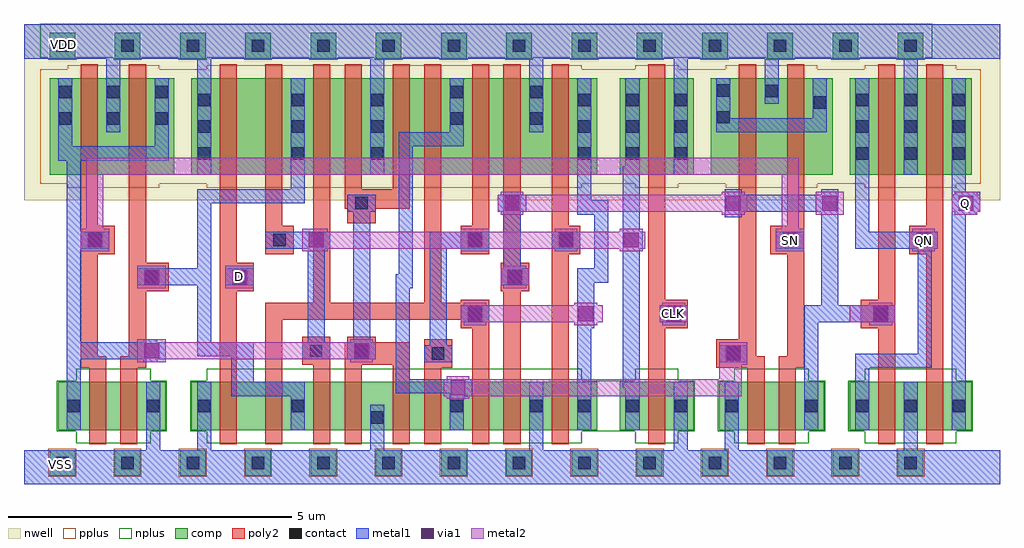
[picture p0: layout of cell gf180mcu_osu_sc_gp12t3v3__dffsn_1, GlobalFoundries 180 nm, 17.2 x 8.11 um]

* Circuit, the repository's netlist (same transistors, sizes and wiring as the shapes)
* Copyright 2022 Google LLC
*
* Licensed under the Apache License, Version 2.0 (the "License");
* you may not use this file except in compliance with the License.
* You may obtain a copy of the License at
*
*      http://www.apache.org/licenses/LICENSE-2.0
*
* Unless required by applicable law or agreed to in writing, software
* distributed under the License is distributed on an "AS IS" BASIS,
* WITHOUT WARRANTIES OR CONDITIONS OF ANY KIND, either express or implied.
* See the License for the specific language governing permissions and
* limitations under the License.

.inc "/import/yukari1/lrburle/OSU_180/char/techfiles/design.hspice"
.lib "/import/yukari1/lrburle/OSU_180/char/techfiles/sm141064.hspice" typical

.GLOBAL VDD
.GLOBAL VSS

.option scale=0.05u

.subckt gf180mcu_osu_sc_gp12t3v3__dffsn_1 D SN Q QN CLK
X0 a_75_109 D VDD VDD pmos_3p3 w=34 l=6
X1 VDD a_147_19 a_242_109 VDD pmos_3p3 w=34 l=6
X2 a_242_109 SN VDD VDD pmos_3p3 w=34 l=6
X3 VSS SN a_108_19 VSS nmos_3p3 w=17 l=6
X4 VSS CLK a_85_81 VSS nmos_3p3 w=17 l=6
X5 a_85_14 a_85_81 VSS VSS nmos_3p3 w=17 l=6
X6 a_75_19 D VSS VSS nmos_3p3 w=17 l=6
X7 a_85_14 a_85_81 VDD VDD pmos_3p3 w=34 l=6
X8 VDD a_168_68 a_164_109 VDD pmos_3p3 w=34 l=6
X9 Q QN VSS VSS nmos_3p3 w=17 l=6
X10 VDD SN SN VDD pmos_3p3 w=34 l=6
X11 SN a_34_14 VDD VDD pmos_3p3 w=34 l=6
X12 a_147_19 a_85_14 a_136_109 VDD pmos_3p3 w=34 l=6
X13 a_164_109 a_85_81 a_147_19 VDD pmos_3p3 w=34 l=6
X14 VDD CLK a_85_81 VDD pmos_3p3 w=34 l=6
X15 a_261_19 a_147_19 VSS VSS nmos_3p3 w=17 l=6
X16 VSS a_168_68 QN VSS nmos_3p3 w=17 l=6
X17 a_136_109 SN VDD VDD pmos_3p3 w=34 l=6
X18 a_136_19 SN VSS VSS nmos_3p3 w=17 l=6
X19 VDD SN a_108_109 VDD pmos_3p3 w=34 l=6
X20 a_108_109 a_85_14 a_34_14 VDD pmos_3p3 w=34 l=6
X21 a_164_19 a_85_14 a_147_19 VSS nmos_3p3 w=17 l=6
X22 a_168_68 SN a_261_19 VSS nmos_3p3 w=17 l=6
X23 a_147_19 a_85_81 a_136_19 VSS nmos_3p3 w=17 l=6
X24 VSS a_168_68 a_164_19 VSS nmos_3p3 w=17 l=6
X25 a_34_14 a_85_81 a_75_109 VDD pmos_3p3 w=34 l=6
X26 a_29_19 SN SN VSS nmos_3p3 w=17 l=6
X27 a_34_14 a_85_14 a_75_19 VSS nmos_3p3 w=17 l=6
X28 Q QN VDD VDD pmos_3p3 w=34 l=6
X29 VDD a_168_68 QN VDD pmos_3p3 w=34 l=6
X30 VSS a_34_14 a_29_19 VSS nmos_3p3 w=17 l=6
X31 a_108_19 a_85_81 a_34_14 VSS nmos_3p3 w=17 l=6
.ends

** hspice subcircuit dictionary

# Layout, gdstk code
import gdstk
lib = gdstk.Library(unit=1e-6, precision=1e-09)
def R(c, l, rs):  # rectangles x0, y0, x1, y1
    for r in rs: c.add(gdstk.rectangle(r[:2], r[2:], *l))
def A(c, l, x, y, w, h, nx, ny, dx, dy):  # array of equal rectangles
    R(c, l, [(x+i*dx, y+j*dy, x+i*dx+w, y+j*dy+h) for i in range(nx) for j in range(ny)])
nwell = (21, 0)
comp = (22, 0)
poly2 = (30, 0)
pplus = (31, 0)
nplus = (32, 0)
contact = (33, 0)
metal1 = (34, 0)
via1 = (35, 0)
metal2 = (36, 0)

gf180mcu_osu_sc_gp12t3v3 = lib.new_cell('gf180mcu_osu_sc_gp12t3v3__dffsn_1')
R(gf180mcu_osu_sc_gp12t3v3, nwell, [(0,5,17.2,8.1)])
A(gf180mcu_osu_sc_gp12t3v3, comp, 0.45, 0.15, 0.45, 0.45, 14, 2, 1.15, 7.35)
R(gf180mcu_osu_sc_gp12t3v3, comp, [(0.6,0.95,2.5,1.8), (2.95,0.95,10.1,1.8), (10.5,0.95,11.8,1.8), (12.25,0.95,14.1,1.8), (14.55,0.95,16.7,1.8), (0.45,5.45,2.65,7.15), (2.95,5.45,10.1,7.15), (10.5,5.45,11.8,7.15), (12.1,5.45,14.25,7.15), (14.55,5.45,16.7,7.15)])
R(gf180mcu_osu_sc_gp12t3v3, poly2, [(1.15,0.7,1.45,2.05), (1.7,0.7,2,2.05), (3.45,0.7,3.75,3.4), (4.25,0.7,4.55,2.9), (5.1,0.7,5.4,2.1), (5.65,0.7,5.95,2.1), (6.5,0.7,6.8,2.1), (7.05,0.7,7.35,2.05), (7.9,0.7,8.2,2.75), (8.45,0.7,8.75,3.4), (9.3,0.7,9.6,4.05), (11,0.7,11.3,2.75), (12.75,0.7,13.05,2.05), (13.3,0.7,13.6,2.05), (15.05,0.7,15.35,2.75), (15.9,0.7,16.2,4.05), (1,2.05,1.45,2.25), (1.7,2.05,2.15,2.25), (7.05,2.05,7.55,2.55), (12.2,2.05,13.05,2.25), (13.3,2.05,13.75,2.25), (4.9,2.1,5.4,2.6), (5.65,2.1,6.8,2.5), (1,2.25,1.3,4.05), (1.85,2.25,2.15,3.4), (12.2,2.25,12.9,2.55), (13.45,2.25,13.75,4.05), (5.7,2.5,6.2,2.6), (12.6,2.55,12.9,7.4), (7.7,2.75,8.2,2.9), (11,2.75,11.7,3.25), (14.75,2.75,15.35,3.25), (4.25,2.9,8.2,3.2), (5.1,3.2,5.4,7.4), (7.05,3.2,7.35,7.4), (7.7,3.2,8.2,3.25), (11,3.25,11.3,7.4), (15.05,3.25,15.35,7.4), (1.85,3.4,2.55,3.9), (3.45,3.4,4.05,3.9), (8.4,3.4,8.9,3.9), (1.85,3.9,2.15,7.4), (3.45,3.9,3.75,7.4), (8.45,3.9,8.75,7.4), (1,4.05,1.6,4.55), (4.25,4.05,4.75,4.55), (7.7,4.05,8.2,4.55), (9.3,4.05,9.8,4.55), (13.15,4.05,13.75,4.55), (15.6,4.05,16.2,4.55), (1,4.55,1.3,7.4), (4.25,4.55,4.55,7.4), (7.9,4.55,8.2,7.4), (9.3,4.55,9.6,7.4), (13.45,4.55,13.75,7.4), (15.9,4.55,16.2,7.4), (5.7,4.6,6.2,4.85), (5.65,4.85,6.8,5.2), (5.65,5.2,5.95,7.4), (6.5,5.2,6.8,7.4)])
A(gf180mcu_osu_sc_gp12t3v3, pplus, 0.43, 0.13, 0.49, 0.49, 14, 1, 1.15, 0)
R(gf180mcu_osu_sc_gp12t3v3, pplus, [(0.77,5.22,2.38,5.29), (3.22,5.22,9.83,5.29), (10.77,5.22,11.53,5.29), (12.37,5.22,13.98,5.29), (14.82,5.22,16.43,5.29), (0.29,5.29,16.86,7.31), (0.77,7.31,2.38,7.38), (3.22,7.31,9.83,7.38), (10.77,7.31,11.53,7.38), (12.37,7.31,13.98,7.38), (14.82,7.31,16.43,7.38)])
A(gf180mcu_osu_sc_gp12t3v3, nplus, 0.43, 7.48, 0.49, 0.03, 14, 1, 1.15, 0)
R(gf180mcu_osu_sc_gp12t3v3, nplus, [(0.92,0.72,2.23,0.93), (3.22,0.72,9.83,0.93), (10.77,0.72,11.53,0.93), (12.52,0.72,13.83,0.93), (14.82,0.72,16.43,0.93), (0.58,0.93,2.52,1.82), (2.93,0.93,11.82,1.82), (12.23,0.93,14.12,1.82), (14.53,0.93,16.72,1.82), (0.92,1.82,2.23,2.03), (3.22,1.82,9.83,2.03), (10.77,1.82,11.53,2.03), (12.52,1.82,13.83,2.03), (14.82,1.82,16.43,2.03), (0.29,7.51,16.01,8.11)])
A(gf180mcu_osu_sc_gp12t3v3, contact, 0.565, 0.265, 0.22, 0.22, 14, 2, 1.15, 7.35)
A(gf180mcu_osu_sc_gp12t3v3, contact, 8.915, 1.265, 0.22, 0.22, 4, 1, 0.85, 0)
A(gf180mcu_osu_sc_gp12t3v3, contact, 14.665, 1.265, 0.22, 0.22, 3, 2, 0.85, 4.455)
A(gf180mcu_osu_sc_gp12t3v3, contact, 3.065, 5.72, 0.22, 0.22, 1, 3, 0, 0.47)
A(gf180mcu_osu_sc_gp12t3v3, contact, 4.715, 5.72, 0.22, 0.22, 1, 3, 0, 0.47)
A(gf180mcu_osu_sc_gp12t3v3, contact, 6.115, 5.72, 0.22, 0.22, 1, 3, 0, 0.47)
A(gf180mcu_osu_sc_gp12t3v3, contact, 9.765, 5.72, 0.22, 0.22, 3, 3, 0.85, 0.47)
A(gf180mcu_osu_sc_gp12t3v3, contact, 14.665, 6.19, 0.22, 0.22, 3, 2, 0.85, 0.47)
A(gf180mcu_osu_sc_gp12t3v3, contact, 0.615, 6.33, 0.22, 0.22, 3, 2, 0.85, 0.47)
R(gf180mcu_osu_sc_gp12t3v3, contact, [(6.115,1.065,6.335,1.285), (0.765,1.265,0.985,1.485), (2.165,1.265,2.385,1.485), (3.065,1.265,3.285,1.485), (4.715,1.265,4.935,1.485), (7.515,1.265,7.735,1.485), (12.365,1.265,12.585,1.485), (13.765,1.265,13.985,1.485), (7.19,2.19,7.41,2.41), (12.39,2.19,12.61,2.41), (5.04,2.24,5.26,2.46), (5.84,2.24,6.06,2.46), (7.84,2.89,8.06,3.11), (11.34,2.89,11.56,3.11), (14.99,2.89,15.21,3.11), (2.14,3.54,2.36,3.76), (3.69,3.54,3.91,3.76), (8.54,3.54,8.76,3.76), (1.14,4.19,1.36,4.41), (4.39,4.19,4.61,4.41), (7.84,4.19,8.06,4.41), (9.44,4.19,9.66,4.41), (13.39,4.19,13.61,4.41), (15.74,4.19,15.96,4.41), (5.84,4.84,6.06,5.06), (7.515,6.33,7.735,6.55), (8.915,6.33,9.135,6.55), (12.215,6.355,12.435,6.575), (13.915,6.615,14.135,6.835), (7.515,6.8,7.735,7.02), (8.915,6.8,9.135,7.02), (13.065,6.815,13.285,7.035), (12.215,6.825,12.435,7.045)])
R(gf180mcu_osu_sc_gp12t3v3, metal1, [(0,0,17.2,0.6), (2.15,0.6,2.4,1.8), (3.05,0.6,3.3,1.8), (6.1,0.6,6.35,1.4), (8.9,0.6,9.15,1.8), (11.45,0.6,11.7,1.8), (12.35,0.6,12.6,1.8), (15.5,0.6,15.75,1.8), (0.75,0.95,1,2.2), (4.7,0.95,4.95,1.55), (7.5,0.95,7.75,1.55), (9.75,0.95,10,2.75), (10.6,0.95,10.85,1.7), (13.75,0.95,14,2.85), (14.65,0.95,14.9,2.05), (16.35,0.95,16.6,4.75), (3.65,1.55,4.95,1.8), (7.5,1.55,7.9,1.6), (6.55,1.6,7.9,1.85), (10.55,1.7,10.85,4.15), (3.65,1.8,4.05,2.25), (6.55,1.85,6.8,3.45), (14.65,2.05,16,2.3), (2.1,2.15,2.35,2.2), (7.05,2.15,7.55,2.45), (12.25,2.15,12.75,2.45), (0.75,2.2,2.5,2.5), (4.9,2.2,5.4,2.5), (5.7,2.2,6.2,2.5), (3.05,2.25,4.05,2.5), (15.75,2.3,16,4.15), (7.15,2.45,7.45,4.15), (0.75,2.5,1,4.15), (2.1,2.5,2.35,2.55), (3.05,2.5,3.3,3.5), (5,2.5,5.3,4.15), (5.8,2.5,6.1,4.8), (9.75,2.75,10.05,3.55), (7.7,2.85,8.2,3.15), (11.2,2.85,11.7,3.15), (13.75,2.85,15.35,3.15), (14.05,3.15,14.35,4.8), (6.55,3.45,6.85,3.7), (2,3.5,3.3,3.8), (3.55,3.5,4.05,3.8), (8.4,3.5,8.9,3.8), (9.75,3.55,10.3,3.8), (6.6,3.7,6.85,5.95), (3.05,3.8,3.3,4.95), (8.45,3.8,8.75,4.8), (10.05,3.8,10.3,4.75), (0.75,4.15,1.5,4.45), (4.25,4.15,5.4,4.45), (7.15,4.15,8.2,4.45), (9.3,4.15,9.8,4.45), (10.55,4.15,10.9,4.45), (13.25,4.15,13.75,4.45), (14.65,4.15,16.1,4.45), (0.75,4.45,1,5.7), (10.55,4.45,10.85,5.6), (14.65,4.45,14.9,7.15), (12.35,4.7,12.65,4.8), (9.75,4.75,10.3,5), (16.35,4.75,16.8,4.8), (5.7,4.8,6.2,5.1), (8.35,4.8,8.85,5.1), (12.35,4.8,14.35,5.1), (16.35,4.8,16.85,5.15), (3.05,4.95,4.95,5.2), (9.75,5,10,7.15), (12.35,5.1,12.65,5.2), (14.05,5.1,14.35,5.2), (16.35,5.15,16.6,7.15), (4.7,5.2,4.95,7.15), (3.05,5.45,3.3,7.5), (6.1,5.45,6.35,7.5), (11.45,5.45,11.7,7.5), (15.5,5.45,15.75,7.5), (10.6,5.6,10.85,7.15), (0.6,5.7,2.55,5.95), (0.6,5.95,0.85,7.15), (2.3,5.95,2.55,7.15), (6.6,5.95,7.75,6.2), (1.45,6.2,1.7,7.5), (7.5,6.2,7.75,7.15), (8.9,6.2,9.15,7.5), (12.2,6.2,14.15,6.45), (12.2,6.45,12.45,7.15), (13.9,6.45,14.15,7.15), (13.05,6.7,13.3,7.5), (0,7.5,17.2,8.1)])
R(gf180mcu_osu_sc_gp12t3v3, via1, [(7.52,1.57,7.78,1.83), (12.37,2.17,12.63,2.43), (2.12,2.22,2.38,2.48), (5.82,2.22,6.08,2.48), (7.82,2.87,8.08,3.13), (9.77,2.87,10.03,3.13), (11.32,2.87,11.58,3.13), (14.97,2.87,15.23,3.13), (2.12,3.52,2.38,3.78), (3.67,3.52,3.93,3.78), (8.52,3.52,8.78,3.78), (1.12,4.17,1.38,4.43), (5.02,4.17,5.28,4.43), (7.82,4.17,8.08,4.43), (9.42,4.17,9.68,4.43), (10.57,4.17,10.83,4.43), (13.37,4.17,13.63,4.43), (15.72,4.17,15.98,4.43), (8.47,4.82,8.73,5.08), (12.37,4.82,12.63,5.08), (14.07,4.82,14.33,5.08), (16.47,4.82,16.73,5.08)])
R(gf180mcu_osu_sc_gp12t3v3, metal2, [(7.45,1.5,7.85,1.55), (7.4,1.55,12.65,1.85), (7.45,1.85,7.85,1.9), (12.25,1.85,12.65,2.1), (12.25,2.1,12.75,2.5), (2,2.15,2.5,2.2), (5.75,2.15,6.15,2.2), (2,2.2,6.2,2.5), (2,2.5,2.5,2.55), (5.75,2.5,6.15,2.55), (7.75,2.8,8.15,2.85), (9.7,2.8,10.1,2.85), (11.25,2.8,11.65,2.85), (14.9,2.8,15.3,2.85), (7.7,2.85,10.2,3.15), (11.2,2.85,11.7,3.15), (14.55,2.85,15.35,3.15), (7.75,3.15,8.15,3.2), (9.7,3.15,10.1,3.2), (11.25,3.15,11.65,3.2), (14.9,3.15,15.3,3.2), (2,3.45,2.5,3.85), (3.55,3.45,4.05,3.85), (8.45,3.45,8.85,3.5), (8.4,3.5,8.9,3.8), (8.45,3.8,8.85,3.85), (1,4.1,1.5,4.5), (4.9,4.1,5.35,4.15), (7.7,4.1,8.2,4.15), (9.35,4.1,9.75,4.15), (10.5,4.1,10.9,4.15), (13.25,4.1,13.75,4.5), (15.65,4.1,16.05,4.15), (4.9,4.15,10.95,4.45), (15.6,4.15,16.1,4.45), (4.9,4.45,5.35,4.5), (7.7,4.45,8.2,4.5), (9.35,4.45,9.75,4.5), (10.5,4.45,10.9,4.5), (15.65,4.45,16.05,4.5), (1.1,4.5,1.4,5.45), (13.35,4.5,13.65,5.45), (8.4,4.75,8.8,4.8), (12.3,4.75,12.7,4.8), (13.95,4.75,14.45,5.15), (16.4,4.75,16.8,4.8), (8.35,4.8,12.75,5.1), (16.35,4.8,16.85,5.1), (8.4,5.1,8.8,5.15), (12.3,5.1,12.7,5.15), (16.4,5.1,16.8,5.15), (1.1,5.45,13.65,5.75)])
gf180mcu_osu_sc_gp12t3v3.add(gdstk.Label('VDD', (0.7,7.75), layer=34, texttype=0))
gf180mcu_osu_sc_gp12t3v3.add(gdstk.Label('VSS', (0.65,0.35), layer=34, texttype=0))
gf180mcu_osu_sc_gp12t3v3.add(gdstk.Label('D', (3.8,3.65), layer=36, texttype=10))
gf180mcu_osu_sc_gp12t3v3.add(gdstk.Label('SN', (13.5,4.3), layer=36, texttype=10))
gf180mcu_osu_sc_gp12t3v3.add(gdstk.Label('Q', (16.6,4.95), layer=36, texttype=10))
gf180mcu_osu_sc_gp12t3v3.add(gdstk.Label('QN', (15.85,4.3), layer=36, texttype=10))
gf180mcu_osu_sc_gp12t3v3.add(gdstk.Label('CLK', (11.45,3), layer=36, texttype=10))

lib.write_gds('gf180mcu_osu_sc_gp12t3v3__dffsn_1.gds')
